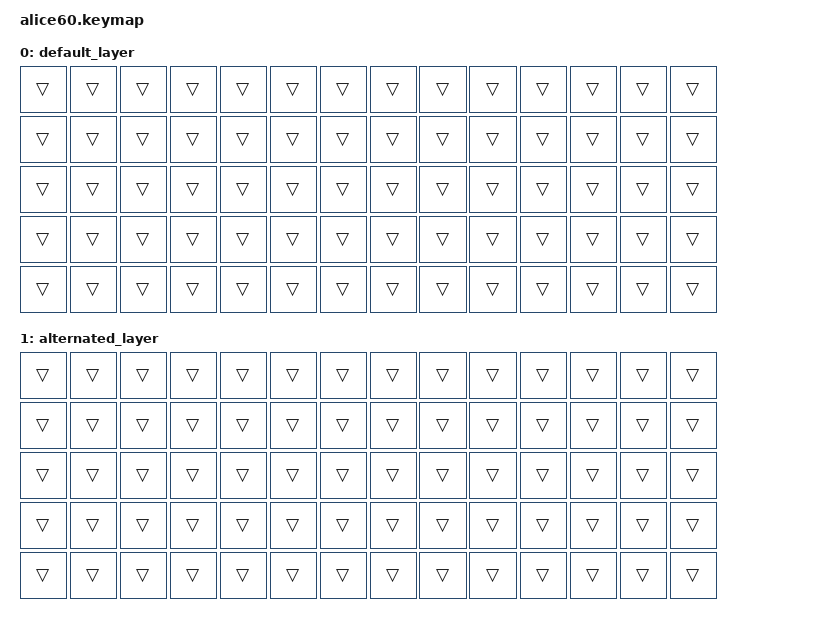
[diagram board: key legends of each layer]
/*
 * Copyright (c) 2020 The ZMK Contributors
 *
 * SPDX-License-Identifier: MIT
 */

#include <behaviors.dtsi>
#include <dt-bindings/zmk/keys.h>
#include <dt-bindings/zmk/bt.h>
#include <dt-bindings/zmk/outputs.h>

#define DEF 0
#define ALT 1

/ {
    behaviors {
        ht: hold_tap {
            compatible = "zmk,behavior-hold-tap";
            label = "Hold Tap";
            #binding-cells = <2>;
            tapping-term-ms = <200>;
            flavor = "tap-preferred";
            bindings = <&kp>, <&kp>;
        };
    };

    keymap {
        compatible = "zmk,keymap";

        default_layer {
            bindings = <
&trans &trans &trans &trans &trans &trans &trans &trans &trans &trans &trans &trans &trans &trans
&trans &trans &trans &trans &trans &trans &trans &trans &trans &trans &trans &trans &trans &trans
&trans &trans &trans &trans &trans &trans &trans &trans &trans &trans &trans &trans &trans &trans
&trans &trans &trans &trans &trans &trans &trans &trans &trans &trans &trans &trans &trans &trans
&trans &trans &trans &trans &trans &trans &trans &trans &trans &trans &trans &trans &trans &trans             
            >;
        };

        alternated_layer {
            bindings = <
&trans &trans &trans &trans &trans &trans &trans &trans &trans &trans &trans &trans &trans &trans
&trans &trans &trans &trans &trans &trans &trans &trans &trans &trans &trans &trans &trans &trans
&trans &trans &trans &trans &trans &trans &trans &trans &trans &trans &trans &trans &trans &trans
&trans &trans &trans &trans &trans &trans &trans &trans &trans &trans &trans &trans &trans &trans
&trans &trans &trans &trans &trans &trans &trans &trans &trans &trans &trans &trans &trans &trans    
            >;
        };
    };
};
